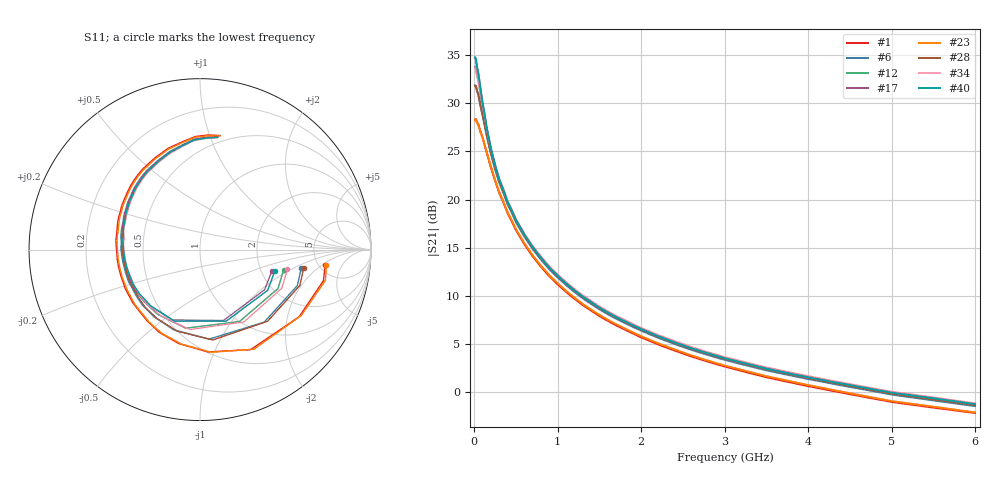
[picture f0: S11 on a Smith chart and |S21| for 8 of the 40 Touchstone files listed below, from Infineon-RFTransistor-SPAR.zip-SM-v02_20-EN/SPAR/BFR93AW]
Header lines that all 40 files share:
! Infineon Technologies  Discrete & RF Semiconductors
! BFR93AW
! Common Emitter S-Parameters:  Jan 2017
# GHz  S  MA  R  50
!  f  S11  S21  S12  S22
! GHz  MAG  ANG  MAG  ANG  MAG  ANG  MAG  ANG
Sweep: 10 MHz to 6 GHz
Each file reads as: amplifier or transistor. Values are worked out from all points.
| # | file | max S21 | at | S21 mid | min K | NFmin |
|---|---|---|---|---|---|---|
| 1 | BFR93AW_w_noise_VCE_5.0V_IC_10mA.s2p | 28.3 dB | 20 MHz | 5.0 dB at 2.2 GHz | 0.02 | 1.25 dB |
| 2 | BFR93AW_w_noise_VCE_5.0V_IC_11mA.s2p | 28.9 dB | 20 MHz | 5.1 dB at 2.2 GHz | 0.03 | 1.26 dB |
| 3 | BFR93AW_w_noise_VCE_5.0V_IC_15mA.s2p | 30.5 dB | 10 MHz | 5.4 dB at 2.2 GHz | 0.05 | 1.37 dB |
| 4 | BFR93AW_w_noise_VCE_5.0V_IC_16mA.s2p | 30.8 dB | 10 MHz | 5.5 dB at 2.2 GHz | 0.02 | 1.41 dB |
| 5 | BFR93AW_w_noise_VCE_5.0V_IC_18mA.s2p | 31.4 dB | 20 MHz | 5.6 dB at 2.2 GHz | 0.12 | 1.47 dB |
| 6 | BFR93AW_w_noise_VCE_5.0V_IC_20mA.s2p | 31.9 dB | 10 MHz | 5.7 dB at 2.2 GHz | 0.07 | 1.52 dB |
| 7 | BFR93AW_w_noise_VCE_5.0V_IC_23mA.s2p | 32.4 dB | 10 MHz | 5.7 dB at 2.2 GHz | 0.09 | 1.60 dB |
| 8 | BFR93AW_w_noise_VCE_5.0V_IC_24mA.s2p | 32.6 dB | 10 MHz | 5.8 dB at 2.2 GHz | 0.09 | 1.63 dB |
| 9 | BFR93AW_w_noise_VCE_5.0V_IC_25mA.s2p | 32.8 dB | 10 MHz | 5.8 dB at 2.2 GHz | 0.12 | 1.66 dB |
| 10 | BFR93AW_w_noise_VCE_5.0V_IC_30mA.s2p | 33.4 dB | 10 MHz | 5.8 dB at 2.2 GHz | 0.11 | 1.79 dB |
| 11 | BFR93AW_w_noise_VCE_5.0V_IC_32mA.s2p | 33.7 dB | 10 MHz | 5.8 dB at 2.2 GHz | 0.10 | 1.86 dB |
| 12 | BFR93AW_w_noise_VCE_5.0V_IC_33mA.s2p | 33.7 dB | 10 MHz | 5.8 dB at 2.2 GHz | 0.11 | 1.88 dB |
| 13 | BFR93AW_w_noise_VCE_5.0V_IC_36mA.s2p | 34.0 dB | 10 MHz | 5.8 dB at 2.2 GHz | 0.14 | 1.95 dB |
| 14 | BFR93AW_w_noise_VCE_5.0V_IC_38mA.s2p | 34.2 dB | 10 MHz | 5.8 dB at 2.2 GHz | 0.13 | 1.99 dB |
| 15 | BFR93AW_w_noise_VCE_5.0V_IC_40mA.s2p | 34.3 dB | 10 MHz | 5.8 dB at 2.2 GHz | 0.14 | 2.04 dB |
| 16 | BFR93AW_w_noise_VCE_5.0V_IC_45mA.s2p | 34.6 dB | 10 MHz | 5.8 dB at 2.2 GHz | 0.22 | 2.16 dB |
| 17 | BFR93AW_w_noise_VCE_5.0V_IC_47mA.s2p | 34.7 dB | 10 MHz | 5.7 dB at 2.2 GHz | 0.17 | 2.21 dB |
| 18 | BFR93AW_w_noise_VCE_5.0V_IC_50mA.s2p | 34.8 dB | 10 MHz | 5.7 dB at 2.2 GHz | 0.13 | 2.30 dB |
| 19 | BFR93AW_w_noise_VCE_5.0V_IC_52mA.s2p | 34.9 dB | 10 MHz | 5.6 dB at 2.2 GHz | 0.17 | 2.34 dB |
| 20 | BFR93AW_w_noise_VCE_5.0V_IC_55mA.s2p | 35.0 dB | 10 MHz | 5.6 dB at 2.2 GHz | 0.18 | 2.42 dB |
| 21 | BFR93AW_w_noise_VCE_6.0V_IC_2.0mA.s2p | 16.9 dB | 20 MHz | 0.9 dB at 2.2 GHz | 0.01 | 1.49 dB |
| 22 | BFR93AW_w_noise_VCE_6.0V_IC_5.0mA.s2p | 23.8 dB | 20 MHz | 3.8 dB at 2.2 GHz | -0.05 | 1.18 dB |
| 23 | BFR93AW_w_noise_VCE_6.0V_IC_10mA.s2p | 28.3 dB | 20 MHz | 5.1 dB at 2.2 GHz | -0.03 | 1.25 dB |
| 24 | BFR93AW_w_noise_VCE_6.0V_IC_11mA.s2p | 28.8 dB | 10 MHz | 5.2 dB at 2.2 GHz | -0.02 | 1.26 dB |
| 25 | BFR93AW_w_noise_VCE_6.0V_IC_15mA.s2p | 30.4 dB | 10 MHz | 5.6 dB at 2.2 GHz | 0.02 | 1.37 dB |
| 26 | BFR93AW_w_noise_VCE_6.0V_IC_16mA.s2p | 30.8 dB | 20 MHz | 5.6 dB at 2.2 GHz | 0.04 | 1.41 dB |
| 27 | BFR93AW_w_noise_VCE_6.0V_IC_18mA.s2p | 31.3 dB | 20 MHz | 5.7 dB at 2.2 GHz | 0.11 | 1.47 dB |
| 28 | BFR93AW_w_noise_VCE_6.0V_IC_20mA.s2p | 31.8 dB | 10 MHz | 5.8 dB at 2.2 GHz | 0.10 | 1.52 dB |
| 29 | BFR93AW_w_noise_VCE_6.0V_IC_23mA.s2p | 32.4 dB | 10 MHz | 5.9 dB at 2.2 GHz | 0.08 | 1.60 dB |
| 30 | BFR93AW_w_noise_VCE_6.0V_IC_24mA.s2p | 32.6 dB | 10 MHz | 5.9 dB at 2.2 GHz | 0.05 | 1.63 dB |
| 31 | BFR93AW_w_noise_VCE_6.0V_IC_25mA.s2p | 32.7 dB | 10 MHz | 5.9 dB at 2.2 GHz | 0.07 | 1.66 dB |
| 32 | BFR93AW_w_noise_VCE_6.0V_IC_30mA.s2p | 33.4 dB | 10 MHz | 6.0 dB at 2.2 GHz | 0.10 | 1.79 dB |
| 33 | BFR93AW_w_noise_VCE_6.0V_IC_32mA.s2p | 33.6 dB | 10 MHz | 6.0 dB at 2.2 GHz | 0.11 | 1.86 dB |
| 34 | BFR93AW_w_noise_VCE_6.0V_IC_33mA.s2p | 33.7 dB | 10 MHz | 6.0 dB at 2.2 GHz | 0.14 | 1.88 dB |
| 35 | BFR93AW_w_noise_VCE_6.0V_IC_36mA.s2p | 33.9 dB | 10 MHz | 6.0 dB at 2.2 GHz | 0.14 | 1.95 dB |
| 36 | BFR93AW_w_noise_VCE_6.0V_IC_38mA.s2p | 34.1 dB | 10 MHz | 6.0 dB at 2.2 GHz | 0.16 | 1.99 dB |
| 37 | BFR93AW_w_noise_VCE_6.0V_IC_40mA.s2p | 34.2 dB | 10 MHz | 5.9 dB at 2.2 GHz | 0.15 | 2.04 dB |
| 38 | BFR93AW_w_noise_VCE_6.0V_IC_45mA.s2p | 34.5 dB | 10 MHz | 5.9 dB at 2.2 GHz | 0.16 | 2.16 dB |
| 39 | BFR93AW_w_noise_VCE_6.0V_IC_47mA.s2p | 34.6 dB | 10 MHz | 5.9 dB at 2.2 GHz | 0.15 | 2.21 dB |
| 40 | BFR93AW_w_noise_VCE_6.0V_IC_50mA.s2p | 34.8 dB | 10 MHz | 5.8 dB at 2.2 GHz | 0.17 | 2.30 dB |

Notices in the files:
Hoja de datos/BFP 450/Infineon-RFTransistor-SPAR.zip-SM-v02_20-EN/SPAR/BFR93AW/BFR93AW_w_noise_VCE_5.0V_IC_10mA.s2p:
(c) 2017  Infineon Technologies AG, Munich
